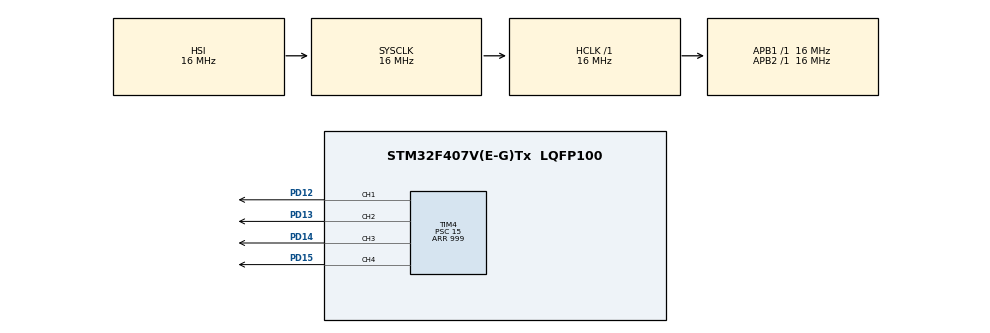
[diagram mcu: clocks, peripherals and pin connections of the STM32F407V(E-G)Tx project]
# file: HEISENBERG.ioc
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Mcu.Family=STM32F4
Mcu.Name=STM32F407V(E-G)Tx
Mcu.Package=LQFP100
NVIC.PriorityGroup=NVIC_PRIORITYGROUP_4
PD12.Signal=S_TIM4_CH1
PD13.Signal=S_TIM4_CH2
PD14.Signal=S_TIM4_CH3
PD15.Signal=S_TIM4_CH4
ProjectManager.HeapSize=0x200
ProjectManager.StackSize=0x400
ProjectManager.TargetToolchain=STM32CubeIDE
RCC.AHBFreq_Value=16000000
RCC.APB1Freq_Value=16000000
RCC.APB2Freq_Value=16000000
RCC.CortexFreq_Value=16000000
RCC.HSE_VALUE=25000000
RCC.HSI_VALUE=16000000
RCC.LSE_VALUE=32768
RCC.SYSCLKFreq_VALUE=16000000
RCC.VCOOutputFreq_Value=192000000
SH.S_TIM4_CH1.0=TIM4_CH1,PWM Generation1 CH1
SH.S_TIM4_CH2.0=TIM4_CH2,PWM Generation2 CH2
SH.S_TIM4_CH3.0=TIM4_CH3,PWM Generation3 CH3
SH.S_TIM4_CH4.0=TIM4_CH4,PWM Generation4 CH4
TIM4.Channel-PWM\ Generation1\ CH1=TIM_CHANNEL_1
TIM4.Channel-PWM\ Generation2\ CH2=TIM_CHANNEL_2
TIM4.Channel-PWM\ Generation3\ CH3=TIM_CHANNEL_3
TIM4.Channel-PWM\ Generation4\ CH4=TIM_CHANNEL_4
TIM4.Period=999
TIM4.Prescaler=15
VP_TIM4_VS_ClockSourceINT.Mode=Internal
board=custom

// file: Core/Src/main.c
/* USER CODE BEGIN Header */
/**
  ******************************************************************************
  * @file           : main.c
  * @brief          : Main program body
  ******************************************************************************
  * @attention
  *
  * Copyright (c) 2026 STMicroelectronics.
  * All rights reserved.
  *
  * This software is licensed under terms that can be found in the LICENSE file
  * in the root directory of this software component.
  * If no LICENSE file comes with this software, it is provided AS-IS.
  *
  ******************************************************************************
  */
/* USER CODE END Header */
#include "main.h"

TIM_HandleTypeDef htim4;

void SystemClock_Config(void);
static void MX_GPIO_Init(void);
static void MX_TIM4_Init(void);

/* USER CODE BEGIN 0 */
uint16_t dutycycle = 0;
/* USER CODE END 0 */

int main(void)
{

  /* MCU Configuration--------------------------------------------------------*/

  /* Reset of all peripherals, Initializes the Flash interface and the Systick. */
  HAL_Init();

  /* Configure the system clock */
  SystemClock_Config();

  /* Initialize all configured peripherals */
  MX_GPIO_Init();
  MX_TIM4_Init();
  /* USER CODE BEGIN 2 */
  HAL_TIM_PWM_Start(&htim4, TIM_CHANNEL_1);
  HAL_TIM_PWM_Start(&htim4, TIM_CHANNEL_2);
  HAL_TIM_PWM_Start(&htim4, TIM_CHANNEL_3);
  HAL_TIM_PWM_Start(&htim4, TIM_CHANNEL_4);
  /* USER CODE END 2 */

  /* Infinite loop */
  while (1)
  {

    /* USER CODE BEGIN 3 */
	  if(dutycycle < 250){
	  		  dutycycle++;0
	  	  }
	  	  else if(dutycycle < 500){
	  		  htim4.Instance -> CCR1 = dutycycle;
	  		  dutycycle++;
	  	  }
	  	  else if(dutycycle < 750){
	  	  	  //htim4.Instance -> CCR1 = dutycycle;
	  	  	  htim4.Instance -> CCR2 = dutycycle;
	  	  	  dutycycle++;
	  	  }
	  	  else if(dutycycle < 999){
	  		  htim4.Instance -> CCR3 = dutycycle;
	  		  htim4.Instance -> CCR4 = dutycycle;
	  		  dutycycle++;
	  	  }
	  	  else{
	  		  dutycycle = 0;
	  		  htim4.Instance -> CCR1 = dutycycle;
	  		  htim4.Instance -> CCR2 = dutycycle;
	  		  htim4.Instance -> CCR3 = dutycycle;
	  		  htim4.Instance -> CCR4 = dutycycle;
	  	  }
	  HAL_Delay(10);
  }
  /* USER CODE END 3 */
}

void SystemClock_Config(void)
{
  RCC_OscInitTypeDef RCC_OscInitStruct = {0};
  RCC_ClkInitTypeDef RCC_ClkInitStruct = {0};

  /** Configure the main internal regulator output voltage
  */
  __HAL_RCC_PWR_CLK_ENABLE();
  __HAL_PWR_VOLTAGESCALING_CONFIG(PWR_REGULATOR_VOLTAGE_SCALE1);

  /** Initializes the RCC Oscillators according to the specified parameters
  * in the RCC_OscInitTypeDef structure.
  */
  RCC_OscInitStruct.OscillatorType = RCC_OSCILLATORTYPE_HSI;
  RCC_OscInitStruct.HSIState = RCC_HSI_ON;
  RCC_OscInitStruct.HSICalibrationValue = RCC_HSICALIBRATION_DEFAULT;
  RCC_OscInitStruct.PLL.PLLState = RCC_PLL_NONE;
  if (HAL_RCC_OscConfig(&RCC_OscInitStruct) != HAL_OK)
  {
    Error_Handler();
  }

  /** Initializes the CPU, AHB and APB buses clocks
  */
  RCC_ClkInitStruct.ClockType = RCC_CLOCKTYPE_HCLK|RCC_CLOCKTYPE_SYSCLK
                              |RCC_CLOCKTYPE_PCLK1|RCC_CLOCKTYPE_PCLK2;
  RCC_ClkInitStruct.SYSCLKSource = RCC_SYSCLKSOURCE_HSI;
  RCC_ClkInitStruct.AHBCLKDivider = RCC_SYSCLK_DIV1;
  RCC_ClkInitStruct.APB1CLKDivider = RCC_HCLK_DIV1;
  RCC_ClkInitStruct.APB2CLKDivider = RCC_HCLK_DIV1;

  if (HAL_RCC_ClockConfig(&RCC_ClkInitStruct, FLASH_LATENCY_0) != HAL_OK)
  {
    Error_Handler();
  }
}

static void MX_TIM4_Init(void)
{

  TIM_ClockConfigTypeDef sClockSourceConfig = {0};
  TIM_MasterConfigTypeDef sMasterConfig = {0};
  TIM_OC_InitTypeDef sConfigOC = {0};

  htim4.Instance = TIM4;
  htim4.Init.Prescaler = 15;
  htim4.Init.CounterMode = TIM_COUNTERMODE_UP;
  htim4.Init.Period = 999;
  htim4.Init.ClockDivision = TIM_CLOCKDIVISION_DIV1;
  htim4.Init.AutoReloadPreload = TIM_AUTORELOAD_PRELOAD_DISABLE;
  if (HAL_TIM_Base_Init(&htim4) != HAL_OK)
  {
    Error_Handler();
  }
  sClockSourceConfig.ClockSource = TIM_CLOCKSOURCE_INTERNAL;
  if (HAL_TIM_ConfigClockSource(&htim4, &sClockSourceConfig) != HAL_OK)
  {
    Error_Handler();
  }
  if (HAL_TIM_PWM_Init(&htim4) != HAL_OK)
  {
    Error_Handler();
  }
  sMasterConfig.MasterOutputTrigger = TIM_TRGO_RESET;
  sMasterConfig.MasterSlaveMode = TIM_MASTERSLAVEMODE_DISABLE;
  if (HAL_TIMEx_MasterConfigSynchronization(&htim4, &sMasterConfig) != HAL_OK)
  {
    Error_Handler();
  }
  sConfigOC.OCMode = TIM_OCMODE_PWM1;
  sConfigOC.Pulse = 0;
  sConfigOC.OCPolarity = TIM_OCPOLARITY_HIGH;
  sConfigOC.OCFastMode = TIM_OCFAST_DISABLE;
  if (HAL_TIM_PWM_ConfigChannel(&htim4, &sConfigOC, TIM_CHANNEL_1) != HAL_OK)
  {
    Error_Handler();
  }
  if (HAL_TIM_PWM_ConfigChannel(&htim4, &sConfigOC, TIM_CHANNEL_2) != HAL_OK)
  {
    Error_Handler();
  }
  if (HAL_TIM_PWM_ConfigChannel(&htim4, &sConfigOC, TIM_CHANNEL_3) != HAL_OK)
  {
    Error_Handler();
  }
  if (HAL_TIM_PWM_ConfigChannel(&htim4, &sConfigOC, TIM_CHANNEL_4) != HAL_OK)
  {
    Error_Handler();
  }
  HAL_TIM_MspPostInit(&htim4);

}

static void MX_GPIO_Init(void)
{

  /* GPIO Ports Clock Enable */
  __HAL_RCC_GPIOD_CLK_ENABLE();

}

void Error_Handler(void)
{
  __disable_irq();
  while (1)
  {
  }
}
